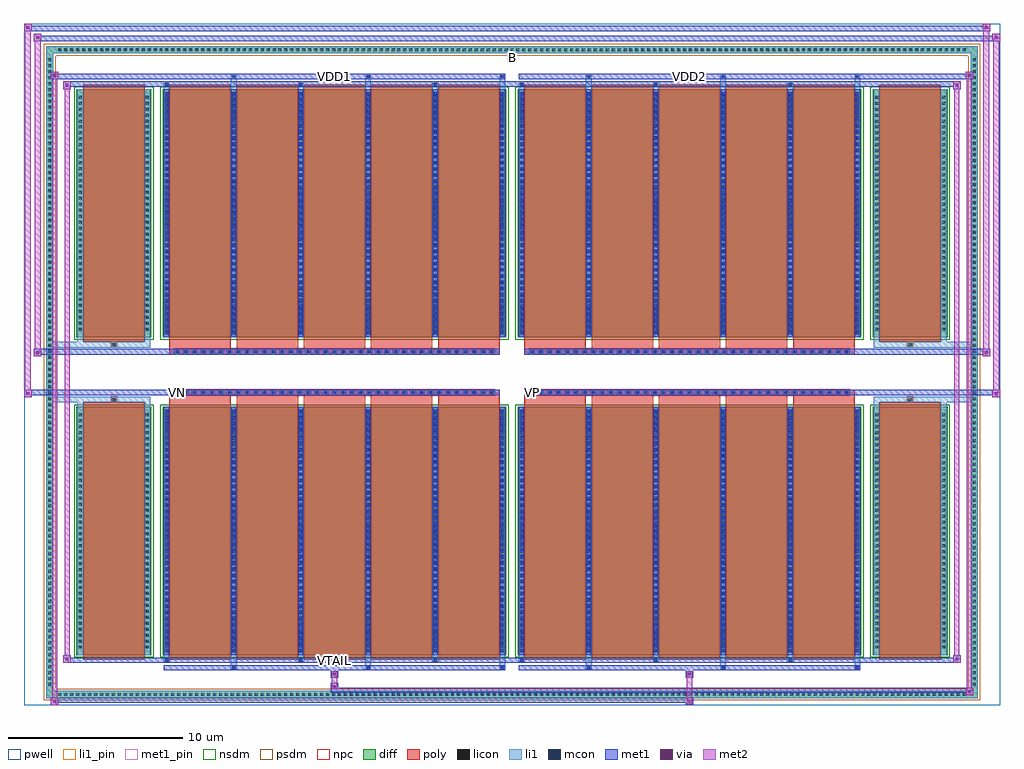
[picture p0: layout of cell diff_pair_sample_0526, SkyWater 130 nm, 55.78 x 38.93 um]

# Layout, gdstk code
import gdstk
lib = gdstk.Library(unit=1e-6, precision=5e-09)
def R(c, l, rs):  # rectangles x0, y0, x1, y1
    for r in rs: c.add(gdstk.rectangle(r[:2], r[2:], *l))
def A(c, l, x, y, w, h, nx, ny, dx, dy):  # array of equal rectangles
    R(c, l, [(x+i*dx, y+j*dy, x+i*dx+w, y+j*dy+h) for i in range(nx) for j in range(ny)])
def P(c, l, *ps):  # polygons
    for p in ps: c.add(gdstk.Polygon(p, *l))
pwell = (64, 44)
diff = (65, 20)
poly = (66, 20)
licon = (66, 44)
li1_pin = (67, 16)
li1 = (67, 20)
mcon = (67, 44)
met1_pin = (68, 16)
met1 = (68, 20)
via = (68, 44)
met2 = (69, 20)
nsdm = (93, 44)
psdm = (94, 20)
npc = (95, 20)

diff_pair_sample_0526 = lib.new_cell('diff_pair_sample_0526')
R(diff_pair_sample_0526, pwell, [(-27.89,-19.03,27.89,19.9), (-25.21,-17.22,-0.01,-0.8), (0.01,-17.22,25.21,-0.8), (-25.21,0.8,-0.01,17.22), (0.01,0.8,25.21,17.22)])
A(diff_pair_sample_0526, diff, -26.045, -18.63, 0.41, 0.41, 153, 2, 0.34, 36.85)
A(diff_pair_sample_0526, diff, -26.62, -18.055, 0.41, 0.41, 1, 106, 0, 0.34)
A(diff_pair_sample_0526, diff, 26.21, -18.055, 0.41, 0.41, 1, 106, 0, 0.34)
R(diff_pair_sample_0526, diff, [(-26.045,-18.63,26.045,-18.22), (-26.62,-18.055,-26.21,18.055), (26.21,-18.055,26.62,18.055), (-24.9,-16.175,-20.61,-1.985), (-19.97,-16.175,-0.32,-1.985), (0.32,-16.175,19.97,-1.985), (20.61,-16.175,24.9,-1.985), (-24.9,1.985,-20.61,16.175), (-19.97,1.985,-0.32,16.175), (0.32,1.985,19.97,16.175), (20.61,1.985,24.9,16.175), (-26.045,18.22,26.045,18.63)])
P(diff_pair_sample_0526, diff, [(26.62,18.63),(-26.62,18.63),(-26.62,-18.22),(-26.21,-18.22),(-26.21,18.22),(26.21,18.22),(26.21,-18.22),(-26.21,-18.22),(-26.62,-18.22),(-26.62,-18.63),(26.62,-18.63)])
A(diff_pair_sample_0526, poly, -19.58, -16.425, 3.51, 14.69, 5, 2, 3.84, 18.16)
A(diff_pair_sample_0526, poly, 0.71, -16.425, 3.51, 14.69, 5, 2, 3.84, 18.16)
A(diff_pair_sample_0526, poly, -19.58, -1.735, 3.51, 0.405, 5, 2, 3.84, 3.065)
A(diff_pair_sample_0526, poly, 0.71, -1.735, 3.51, 0.405, 5, 2, 3.84, 3.065)
A(diff_pair_sample_0526, poly, -19.31, -1.33, 0.33, 0.33, 37, 2, 0.5, 2.33)
A(diff_pair_sample_0526, poly, 0.98, -1.33, 0.33, 0.33, 37, 2, 0.5, 2.33)
R(diff_pair_sample_0526, poly, [(-24.51,-16.425,-21,-1.735), (21,-16.425,24.51,-1.735), (-22.92,-1.735,-22.59,-1.405), (-22.92,-1.735,-22.59,-1.405), (22.59,-1.735,22.92,-1.405), (22.59,-1.735,22.92,-1.405), (-19.58,-1.33,-0.71,-1), (0.71,-1.33,19.58,-1), (-19.58,1,-0.71,1.33), (0.71,1,19.58,1.33), (-22.92,1.405,-22.59,1.735), (-22.92,1.405,-22.59,1.735), (22.59,1.405,22.92,1.735), (22.59,1.405,22.92,1.735), (-24.51,1.735,-21,16.425), (21,1.735,24.51,16.425)])
A(diff_pair_sample_0526, licon, -25.925, -18.51, 0.17, 0.17, 153, 2, 0.34, 36.85)
A(diff_pair_sample_0526, licon, -26.5, -17.935, 0.17, 0.17, 1, 106, 0, 0.34)
A(diff_pair_sample_0526, licon, 26.33, -17.935, 0.17, 0.17, 1, 106, 0, 0.34)
A(diff_pair_sample_0526, licon, -24.76, -15.795, 0.17, 0.17, 1, 40, 0, 0.34)
A(diff_pair_sample_0526, licon, -20.92, -15.795, 0.17, 0.17, 1, 40, 0, 0.34)
A(diff_pair_sample_0526, licon, -19.83, -15.795, 0.17, 0.17, 6, 40, 3.84, 0.34)
A(diff_pair_sample_0526, licon, 0.46, -15.795, 0.17, 0.17, 6, 40, 3.84, 0.34)
A(diff_pair_sample_0526, licon, 20.75, -15.795, 0.17, 0.17, 1, 40, 0, 0.34)
A(diff_pair_sample_0526, licon, 24.59, -15.795, 0.17, 0.17, 1, 40, 0, 0.34)
A(diff_pair_sample_0526, licon, -19.23, -1.25, 0.17, 0.17, 37, 2, 0.5, 2.33)
A(diff_pair_sample_0526, licon, 1.06, -1.25, 0.17, 0.17, 37, 2, 0.5, 2.33)
A(diff_pair_sample_0526, licon, -24.76, 2.365, 0.17, 0.17, 1, 40, 0, 0.34)
A(diff_pair_sample_0526, licon, -20.92, 2.365, 0.17, 0.17, 1, 40, 0, 0.34)
A(diff_pair_sample_0526, licon, -19.83, 2.365, 0.17, 0.17, 6, 40, 3.84, 0.34)
A(diff_pair_sample_0526, licon, 0.46, 2.365, 0.17, 0.17, 6, 40, 3.84, 0.34)
A(diff_pair_sample_0526, licon, 20.75, 2.365, 0.17, 0.17, 1, 40, 0, 0.34)
A(diff_pair_sample_0526, licon, 24.59, 2.365, 0.17, 0.17, 1, 40, 0, 0.34)
R(diff_pair_sample_0526, licon, [(-22.84,-1.655,-22.67,-1.485), (22.67,-1.655,22.84,-1.485), (-22.84,1.485,-22.67,1.655), (22.67,1.485,22.84,1.655)])
R(diff_pair_sample_0526, li1_pin, [(-0.25,17.72,0.25,18.22)])
A(diff_pair_sample_0526, li1, -26.005, -18.59, 0.33, 0.33, 153, 2, 0.34, 36.85)
A(diff_pair_sample_0526, li1, -26.58, -18.015, 0.33, 0.33, 1, 106, 0, 0.34)
A(diff_pair_sample_0526, li1, 26.25, -18.015, 0.33, 0.33, 1, 106, 0, 0.34)
A(diff_pair_sample_0526, li1, -16.07, -16.98, 0.33, 0.805, 3, 2, 7.68, 33.155)
A(diff_pair_sample_0526, li1, -15.99, -16.98, 0.17, 0.17, 3, 2, 7.68, 33.79)
A(diff_pair_sample_0526, li1, 4.22, -16.98, 0.33, 0.805, 3, 2, 7.68, 33.155)
A(diff_pair_sample_0526, li1, 4.3, -16.98, 0.17, 0.17, 3, 2, 7.68, 33.79)
A(diff_pair_sample_0526, li1, -19.91, -16.55, 0.33, 0.375, 3, 2, 7.68, 32.725)
A(diff_pair_sample_0526, li1, -19.83, -16.55, 0.17, 0.17, 3, 2, 7.68, 32.93)
A(diff_pair_sample_0526, li1, 0.38, -16.55, 0.33, 0.375, 3, 2, 7.68, 32.725)
A(diff_pair_sample_0526, li1, 0.46, -16.55, 0.17, 0.17, 3, 2, 7.68, 32.93)
A(diff_pair_sample_0526, li1, -19.91, -16.175, 0.33, 14.19, 6, 2, 3.84, 18.16)
A(diff_pair_sample_0526, li1, 0.38, -16.175, 0.33, 14.19, 6, 2, 3.84, 18.16)
A(diff_pair_sample_0526, li1, -19.83, -16.005, 0.17, 0.17, 6, 39, 3.84, 0.36)
A(diff_pair_sample_0526, li1, -19.83, -16.005, 0.17, 13.85, 6, 2, 3.84, 18.16)
A(diff_pair_sample_0526, li1, 0.46, -16.005, 0.17, 0.17, 6, 39, 3.84, 0.36)
A(diff_pair_sample_0526, li1, 0.46, -16.005, 0.17, 13.85, 6, 2, 3.84, 18.16)
A(diff_pair_sample_0526, li1, -24.84, -15.875, 0.33, 0.33, 1, 40, 0, 0.34)
A(diff_pair_sample_0526, li1, -21, -15.875, 0.33, 0.33, 1, 40, 0, 0.34)
A(diff_pair_sample_0526, li1, -19.91, -15.875, 0.33, 0.33, 6, 40, 3.84, 0.34)
A(diff_pair_sample_0526, li1, 0.38, -15.875, 0.33, 0.33, 6, 40, 3.84, 0.34)
A(diff_pair_sample_0526, li1, 20.67, -15.875, 0.33, 0.33, 1, 40, 0, 0.34)
A(diff_pair_sample_0526, li1, 24.51, -15.875, 0.33, 0.33, 1, 40, 0, 0.34)
A(diff_pair_sample_0526, li1, -19.31, -1.33, 0.33, 0.33, 37, 2, 0.5, 2.33)
A(diff_pair_sample_0526, li1, 0.98, -1.33, 0.33, 0.33, 37, 2, 0.5, 2.33)
A(diff_pair_sample_0526, li1, -19.83, 2.155, 0.17, 0.17, 6, 39, 3.84, 0.36)
A(diff_pair_sample_0526, li1, 0.46, 2.155, 0.17, 0.17, 6, 39, 3.84, 0.36)
A(diff_pair_sample_0526, li1, -24.84, 2.285, 0.33, 0.33, 1, 40, 0, 0.34)
A(diff_pair_sample_0526, li1, -21, 2.285, 0.33, 0.33, 1, 40, 0, 0.34)
A(diff_pair_sample_0526, li1, -19.91, 2.285, 0.33, 0.33, 6, 40, 3.84, 0.34)
A(diff_pair_sample_0526, li1, 0.38, 2.285, 0.33, 0.33, 6, 40, 3.84, 0.34)
A(diff_pair_sample_0526, li1, 20.67, 2.285, 0.33, 0.33, 1, 40, 0, 0.34)
A(diff_pair_sample_0526, li1, 24.51, 2.285, 0.33, 0.33, 1, 40, 0, 0.34)
R(diff_pair_sample_0526, li1, [(-26.62,-18.63,-26.21,-18.22), (-26.62,-18.63,-26.21,-18.22), (-26.21,-18.63,26.21,-18.22), (26.21,-18.63,26.62,-18.22), (26.21,-18.63,26.62,-18.22), (-26.62,-18.22,-26.21,18.22), (26.21,-18.22,26.62,18.22), (-24.84,-16.175,-24.51,-1.985), (-21,-16.175,-20.67,-1.985), (20.67,-16.175,21,-1.985), (24.51,-16.175,24.84,-1.985), (-24.84,-1.985,-24.51,-1.405), (-21,-1.985,-20.67,-1.405), (20.67,-1.985,21,-1.405), (24.51,-1.985,24.84,-1.405), (-26.62,-1.735,-22.92,-1.405), (-24.84,-1.735,-22.92,-1.405), (-22.92,-1.735,-22.59,-1.405), (-22.59,-1.735,-20.67,-1.405), (20.67,-1.735,22.59,-1.405), (22.59,-1.735,22.92,-1.405), (22.59,-1.735,26.62,-1.405), (22.92,-1.735,24.84,-1.405), (-26.62,1.405,-22.92,1.735), (-24.84,1.405,-22.92,1.735), (-24.84,1.405,-24.51,1.985), (-22.92,1.405,-22.59,1.735), (-22.59,1.405,-20.67,1.735), (-21,1.405,-20.67,1.985), (20.67,1.405,22.59,1.735), (20.67,1.405,21,1.985), (22.59,1.405,22.92,1.735), (22.59,1.405,26.62,1.735), (22.92,1.405,24.84,1.735), (24.51,1.405,24.84,1.985), (-24.84,1.985,-24.51,16.175), (-21,1.985,-20.67,16.175), (20.67,1.985,21,16.175), (24.51,1.985,24.84,16.175), (-26.62,18.22,-26.21,18.63), (-26.62,18.22,-26.21,18.63), (-26.21,18.22,26.21,18.63), (26.21,18.22,26.62,18.63), (26.21,18.22,26.62,18.63)])
A(diff_pair_sample_0526, mcon, -15.99, -16.98, 0.17, 0.17, 3, 2, 7.68, 33.79)
A(diff_pair_sample_0526, mcon, 4.3, -16.98, 0.17, 0.17, 3, 2, 7.68, 33.79)
A(diff_pair_sample_0526, mcon, -19.83, -16.55, 0.17, 0.17, 3, 2, 7.68, 32.93)
A(diff_pair_sample_0526, mcon, 0.46, -16.55, 0.17, 0.17, 3, 2, 7.68, 32.93)
A(diff_pair_sample_0526, mcon, -19.83, -16.005, 0.17, 0.17, 6, 39, 3.84, 0.36)
A(diff_pair_sample_0526, mcon, 0.46, -16.005, 0.17, 0.17, 6, 39, 3.84, 0.36)
A(diff_pair_sample_0526, mcon, -19.23, -1.25, 0.17, 0.17, 37, 2, 0.5, 2.33)
A(diff_pair_sample_0526, mcon, 1.06, -1.25, 0.17, 0.17, 37, 2, 0.5, 2.33)
A(diff_pair_sample_0526, mcon, -19.83, 2.155, 0.17, 0.17, 6, 39, 3.84, 0.36)
A(diff_pair_sample_0526, mcon, 0.46, 2.155, 0.17, 0.17, 6, 39, 3.84, 0.36)
R(diff_pair_sample_0526, met1_pin, [(-10.28,-16.59,-10.01,-16.32), (-19.28,-1.29,-19.01,-1.02), (1.01,-1.29,1.28,-1.02), (-10.28,16.77,-10.01,17.04), (10.01,16.77,10.28,17.04)])
A(diff_pair_sample_0526, met1, -16.05, -17.04, 0.29, 0.29, 3, 2, 7.68, 33.79)
A(diff_pair_sample_0526, met1, 4.24, -17.04, 0.29, 0.29, 3, 2, 7.68, 33.79)
A(diff_pair_sample_0526, met1, -19.89, -16.61, 0.29, 0.29, 3, 2, 7.68, 32.93)
A(diff_pair_sample_0526, met1, 0.4, -16.61, 0.29, 0.29, 3, 2, 7.68, 32.93)
A(diff_pair_sample_0526, met1, -19.89, -16.175, 0.29, 14.19, 6, 2, 3.84, 18.16)
A(diff_pair_sample_0526, met1, 0.4, -16.175, 0.29, 14.19, 6, 2, 3.84, 18.16)
A(diff_pair_sample_0526, met1, -19.89, -16.065, 0.29, 0.29, 6, 39, 3.84, 0.36)
A(diff_pair_sample_0526, met1, 0.4, -16.065, 0.29, 0.29, 6, 39, 3.84, 0.36)
A(diff_pair_sample_0526, met1, -19.29, -1.31, 0.29, 0.29, 37, 2, 0.5, 2.33)
A(diff_pair_sample_0526, met1, 1, -1.31, 0.29, 0.29, 37, 2, 0.5, 2.33)
A(diff_pair_sample_0526, met1, -19.89, 2.095, 0.29, 0.29, 6, 39, 3.84, 0.36)
A(diff_pair_sample_0526, met1, 0.4, 2.095, 0.29, 0.29, 6, 39, 3.84, 0.36)
R(diff_pair_sample_0526, met1, [(-26.35,-19.03,-25.92,-18.6), (9.93,-19.03,10.36,-18.6), (-26.35,-18.89,10.36,-18.6), (25.92,-18.46,26.35,-18.03), (-10.36,-18.32,26.35,-18.03), (-10.36,-18.18,-9.93,-17.75), (-10.36,-17.47,-9.93,-17.04), (9.93,-17.47,10.36,-17.04), (-19.89,-17.04,-0.4,-16.75), (0.4,-17.04,19.89,-16.75), (-25.64,-16.61,-25.21,-16.18), (-25.64,-16.61,-19.89,-16.32), (-19.89,-16.61,-0.4,-16.32), (-0.4,-16.61,0.4,-16.32), (0.4,-16.61,19.89,-16.32), (19.89,-16.61,25.64,-16.32), (25.21,-16.61,25.64,-16.18), (-27.89,-1.43,-27.46,-1), (27.46,-1.43,27.89,-1), (-27.89,-1.33,-0.71,-1), (-19.58,-1.33,-0.71,-1), (0.71,-1.33,19.58,-1), (0.71,-1.33,27.89,-1), (-27.32,0.9,-26.89,1.33), (26.89,0.9,27.32,1.33), (-27.32,1,-19.58,1.33), (-19.58,1,-0.71,1.33), (0.71,1,19.58,1.33), (19.58,1,27.32,1.33), (-25.64,16.18,-25.21,16.61), (25.21,16.18,25.64,16.61), (-25.64,16.32,-19.89,16.61), (-19.89,16.32,-0.4,16.61), (-0.4,16.32,0.4,16.61), (0.4,16.32,19.89,16.61), (19.89,16.32,25.64,16.61), (-26.35,16.75,-25.92,17.18), (-26.35,16.75,-19.89,17.04), (-19.89,16.75,-0.4,17.04), (0.4,16.75,19.89,17.04), (19.89,16.75,26.35,17.04), (25.92,16.75,26.35,17.18), (-27.32,18.9,-26.89,19.33), (-27.32,18.9,-25.21,19.23), (-25.21,18.9,25.21,19.23), (25.21,18.9,27.89,19.23), (27.46,18.9,27.89,19.33), (-27.89,19.47,-27.46,19.9), (-27.89,19.47,-25.21,19.8), (-25.21,19.47,25.21,19.8), (25.21,19.47,27.32,19.8), (26.89,19.47,27.32,19.9)])
R(diff_pair_sample_0526, via, [(-26.21,-18.89,-26.06,-18.74), (10.07,-18.89,10.22,-18.74), (26.06,-18.32,26.21,-18.17), (-10.22,-18.04,-10.07,-17.89), (-10.22,-17.33,-10.07,-17.18), (10.07,-17.33,10.22,-17.18), (-25.5,-16.47,-25.35,-16.32), (25.35,-16.47,25.5,-16.32), (-27.75,-1.29,-27.6,-1.14), (27.6,-1.29,27.75,-1.14), (-27.18,1.04,-27.03,1.19), (27.03,1.04,27.18,1.19), (-25.5,16.32,-25.35,16.47), (25.35,16.32,25.5,16.47), (-26.21,16.89,-26.06,17.04), (26.06,16.89,26.21,17.04), (-27.18,19.04,-27.03,19.19), (27.6,19.04,27.75,19.19), (-27.75,19.61,-27.6,19.76), (27.03,19.61,27.18,19.76)])
R(diff_pair_sample_0526, met2, [(-26.35,-19.03,-25.92,-18.6), (-26.28,-19.03,-25.99,17.18), (-25.99,-19.03,-25.92,-18.6), (-26.3,-18.98,-25.97,-18.65), (9.98,-18.98,10.31,-18.65), (9.98,-18.65,10.31,-17.42), (25.92,-18.46,26.35,-18.03), (25.99,-18.46,26.28,17.18), (26.28,-18.46,26.35,-18.03), (25.97,-18.41,26.3,-18.08), (-10.31,-18.13,-9.98,-17.8), (-10.31,-17.8,-9.98,-17.42), (-10.31,-17.42,-9.98,-17.09), (9.98,-17.42,10.31,-17.09), (-25.64,-16.61,-25.21,-16.18), (-25.57,-16.61,-25.28,16.61), (-25.28,-16.61,-25.21,-16.18), (25.21,-16.61,25.64,-16.18), (25.28,-16.61,25.57,16.61), (25.57,-16.61,25.64,-16.18), (-25.59,-16.56,-25.26,-16.23), (25.26,-16.56,25.59,-16.23), (-27.89,-1.43,-27.46,-1), (-27.84,-1.43,-27.51,19.9), (-27.51,-1.43,-27.46,-1), (27.46,-1.43,27.89,-1), (27.51,-1.43,27.84,19.33), (27.84,-1.43,27.89,-1), (-27.84,-1.38,-27.51,-1.05), (27.51,-1.38,27.84,-1.05), (-27.32,0.9,-26.89,1.33), (-27.27,0.9,-26.94,19.33), (-26.94,0.9,-26.89,1.33), (26.89,0.9,27.32,1.33), (26.94,0.9,27.27,19.9), (27.27,0.9,27.32,1.33), (-27.27,0.95,-26.94,1.28), (26.94,0.95,27.27,1.28), (-25.64,16.18,-25.21,16.61), (-25.28,16.18,-25.21,16.61), (25.21,16.18,25.64,16.61), (25.57,16.18,25.64,16.61), (-25.59,16.23,-25.26,16.56), (25.26,16.23,25.59,16.56), (-26.35,16.75,-25.92,17.18), (-25.99,16.75,-25.92,17.18), (25.92,16.75,26.35,17.18), (26.28,16.75,26.35,17.18), (-26.3,16.8,-25.97,17.13), (25.97,16.8,26.3,17.13), (-27.32,18.9,-26.89,19.33), (-26.94,18.9,-26.89,19.33), (27.46,18.9,27.89,19.33), (27.84,18.9,27.89,19.33), (-27.27,18.95,-26.94,19.28), (27.51,18.95,27.84,19.28), (-27.89,19.47,-27.46,19.9), (-27.51,19.47,-27.46,19.9), (26.89,19.47,27.32,19.9), (27.27,19.47,27.32,19.9), (-27.84,19.52,-27.51,19.85), (26.94,19.52,27.27,19.85)])
R(diff_pair_sample_0526, nsdm, [(-25.03,-16.305,-20.48,-1.855), (-20.1,-16.305,-0.19,-1.855), (0.19,-16.305,20.1,-1.855), (20.48,-16.305,25.03,-1.855), (-25.03,1.855,-20.48,16.305), (-20.1,1.855,-0.19,16.305), (0.19,1.855,20.1,16.305), (20.48,1.855,25.03,16.305)])
P(diff_pair_sample_0526, psdm, [(26.75,18.76),(-26.75,18.76),(-26.75,-18.09),(-26.08,-18.09),(-26.08,18.09),(26.08,18.09),(26.08,-18.09),(-26.08,-18.09),(-26.75,-18.09),(-26.75,-18.76),(26.75,-18.76)])
A(diff_pair_sample_0526, npc, -19.33, -1.35, 0.37, 0.37, 37, 2, 0.5, 2.33)
A(diff_pair_sample_0526, npc, 0.96, -1.35, 0.37, 0.37, 37, 2, 0.5, 2.33)
R(diff_pair_sample_0526, npc, [(-22.94,-1.755,-22.57,-1.385), (22.57,-1.755,22.94,-1.385), (-19.33,-1.35,-18.46,-0.98), (-19.33,-1.35,-18.46,-0.98), (-18.83,-1.35,-17.96,-0.98), (-18.83,-1.35,-17.96,-0.98), (-18.33,-1.35,-17.46,-0.98), (-18.33,-1.35,-17.46,-0.98), (-17.83,-1.35,-16.96,-0.98), (-17.83,-1.35,-16.96,-0.98), (-17.33,-1.35,-16.46,-0.98), (-17.33,-1.35,-16.46,-0.98), (-16.83,-1.35,-15.96,-0.98), (-16.83,-1.35,-15.96,-0.98), (-16.33,-1.35,-15.46,-0.98), (-16.33,-1.35,-15.46,-0.98), (-15.83,-1.35,-14.96,-0.98), (-15.83,-1.35,-14.96,-0.98), (-15.33,-1.35,-14.46,-0.98), (-15.33,-1.35,-14.46,-0.98), (-14.83,-1.35,-13.96,-0.98), (-14.83,-1.35,-13.96,-0.98), (-14.33,-1.35,-13.46,-0.98), (-14.33,-1.35,-13.46,-0.98), (-13.83,-1.35,-12.96,-0.98), (-13.83,-1.35,-12.96,-0.98), (-13.33,-1.35,-12.46,-0.98), (-13.33,-1.35,-12.46,-0.98), (-12.83,-1.35,-11.96,-0.98), (-12.83,-1.35,-11.96,-0.98), (-12.33,-1.35,-11.46,-0.98), (-12.33,-1.35,-11.46,-0.98), (-11.83,-1.35,-10.96,-0.98), (-11.83,-1.35,-10.96,-0.98), (-11.33,-1.35,-10.46,-0.98), (-11.33,-1.35,-10.46,-0.98), (-10.83,-1.35,-9.96,-0.98), (-10.83,-1.35,-9.96,-0.98), (-10.33,-1.35,-9.46,-0.98), (-10.33,-1.35,-9.46,-0.98), (-9.83,-1.35,-8.96,-0.98), (-9.83,-1.35,-8.96,-0.98), (-9.33,-1.35,-8.46,-0.98), (-9.33,-1.35,-8.46,-0.98), (-8.83,-1.35,-7.96,-0.98), (-8.83,-1.35,-7.96,-0.98), (-8.33,-1.35,-7.46,-0.98), (-8.33,-1.35,-7.46,-0.98), (-7.83,-1.35,-6.96,-0.98), (-7.83,-1.35,-6.96,-0.98), (-7.33,-1.35,-6.46,-0.98), (-7.33,-1.35,-6.46,-0.98), (-6.83,-1.35,-5.96,-0.98), (-6.83,-1.35,-5.96,-0.98), (-6.33,-1.35,-5.46,-0.98), (-6.33,-1.35,-5.46,-0.98), (-5.83,-1.35,-4.96,-0.98), (-5.83,-1.35,-4.96,-0.98), (-5.33,-1.35,-4.46,-0.98), (-5.33,-1.35,-4.46,-0.98), (-4.83,-1.35,-3.96,-0.98), (-4.83,-1.35,-3.96,-0.98), (-4.33,-1.35,-3.46,-0.98), (-4.33,-1.35,-3.46,-0.98), (-3.83,-1.35,-2.96,-0.98), (-3.83,-1.35,-2.96,-0.98), (-3.33,-1.35,-2.46,-0.98), (-3.33,-1.35,-2.46,-0.98), (-2.83,-1.35,-1.96,-0.98), (-2.83,-1.35,-1.96,-0.98), (-2.33,-1.35,-1.46,-0.98), (-2.33,-1.35,-1.46,-0.98), (-1.83,-1.35,-0.96,-0.98), (-1.83,-1.35,-0.96,-0.98), (0.96,-1.35,1.83,-0.98), (0.96,-1.35,1.83,-0.98), (1.46,-1.35,2.33,-0.98), (1.46,-1.35,2.33,-0.98), (1.96,-1.35,2.83,-0.98), (1.96,-1.35,2.83,-0.98), (2.46,-1.35,3.33,-0.98), (2.46,-1.35,3.33,-0.98), (2.96,-1.35,3.83,-0.98), (2.96,-1.35,3.83,-0.98), (3.46,-1.35,4.33,-0.98), (3.46,-1.35,4.33,-0.98), (3.96,-1.35,4.83,-0.98), (3.96,-1.35,4.83,-0.98), (4.46,-1.35,5.33,-0.98), (4.46,-1.35,5.33,-0.98), (4.96,-1.35,5.83,-0.98), (4.96,-1.35,5.83,-0.98), (5.46,-1.35,6.33,-0.98), (5.46,-1.35,6.33,-0.98), (5.96,-1.35,6.83,-0.98), (5.96,-1.35,6.83,-0.98), (6.46,-1.35,7.33,-0.98), (6.46,-1.35,7.33,-0.98), (6.96,-1.35,7.83,-0.98), (6.96,-1.35,7.83,-0.98), (7.46,-1.35,8.33,-0.98), (7.46,-1.35,8.33,-0.98), (7.96,-1.35,8.83,-0.98), (7.96,-1.35,8.83,-0.98), (8.46,-1.35,9.33,-0.98), (8.46,-1.35,9.33,-0.98), (8.96,-1.35,9.83,-0.98), (8.96,-1.35,9.83,-0.98), (9.46,-1.35,10.33,-0.98), (9.46,-1.35,10.33,-0.98), (9.96,-1.35,10.83,-0.98), (9.96,-1.35,10.83,-0.98), (10.46,-1.35,11.33,-0.98), (10.46,-1.35,11.33,-0.98), (10.96,-1.35,11.83,-0.98), (10.96,-1.35,11.83,-0.98), (11.46,-1.35,12.33,-0.98), (11.46,-1.35,12.33,-0.98), (11.96,-1.35,12.83,-0.98), (11.96,-1.35,12.83,-0.98), (12.46,-1.35,13.33,-0.98), (12.46,-1.35,13.33,-0.98), (12.96,-1.35,13.83,-0.98), (12.96,-1.35,13.83,-0.98), (13.46,-1.35,14.33,-0.98), (13.46,-1.35,14.33,-0.98), (13.96,-1.35,14.83,-0.98), (13.96,-1.35,14.83,-0.98), (14.46,-1.35,15.33,-0.98), (14.46,-1.35,15.33,-0.98), (14.96,-1.35,15.83,-0.98), (14.96,-1.35,15.83,-0.98), (15.46,-1.35,16.33,-0.98), (15.46,-1.35,16.33,-0.98), (15.96,-1.35,16.83,-0.98), (15.96,-1.35,16.83,-0.98), (16.46,-1.35,17.33,-0.98), (16.46,-1.35,17.33,-0.98), (16.96,-1.35,17.83,-0.98), (16.96,-1.35,17.83,-0.98), (17.46,-1.35,18.33,-0.98), (17.46,-1.35,18.33,-0.98), (17.96,-1.35,18.83,-0.98), (17.96,-1.35,18.83,-0.98), (18.46,-1.35,19.33,-0.98), (18.46,-1.35,19.33,-0.98), (-19.33,0.98,-18.46,1.35), (-19.33,0.98,-18.46,1.35), (-18.83,0.98,-17.96,1.35), (-18.83,0.98,-17.96,1.35), (-18.33,0.98,-17.46,1.35), (-18.33,0.98,-17.46,1.35), (-17.83,0.98,-16.96,1.35), (-17.83,0.98,-16.96,1.35), (-17.33,0.98,-16.46,1.35), (-17.33,0.98,-16.46,1.35), (-16.83,0.98,-15.96,1.35), (-16.83,0.98,-15.96,1.35), (-16.33,0.98,-15.46,1.35), (-16.33,0.98,-15.46,1.35), (-15.83,0.98,-14.96,1.35), (-15.83,0.98,-14.96,1.35), (-15.33,0.98,-14.46,1.35), (-15.33,0.98,-14.46,1.35), (-14.83,0.98,-13.96,1.35), (-14.83,0.98,-13.96,1.35), (-14.33,0.98,-13.46,1.35), (-14.33,0.98,-13.46,1.35), (-13.83,0.98,-12.96,1.35), (-13.83,0.98,-12.96,1.35), (-13.33,0.98,-12.46,1.35), (-13.33,0.98,-12.46,1.35), (-12.83,0.98,-11.96,1.35), (-12.83,0.98,-11.96,1.35), (-12.33,0.98,-11.46,1.35), (-12.33,0.98,-11.46,1.35), (-11.83,0.98,-10.96,1.35), (-11.83,0.98,-10.96,1.35), (-11.33,0.98,-10.46,1.35), (-11.33,0.98,-10.46,1.35), (-10.83,0.98,-9.96,1.35), (-10.83,0.98,-9.96,1.35), (-10.33,0.98,-9.46,1.35), (-10.33,0.98,-9.46,1.35), (-9.83,0.98,-8.96,1.35), (-9.83,0.98,-8.96,1.35), (-9.33,0.98,-8.46,1.35), (-9.33,0.98,-8.46,1.35), (-8.83,0.98,-7.96,1.35), (-8.83,0.98,-7.96,1.35), (-8.33,0.98,-7.46,1.35), (-8.33,0.98,-7.46,1.35), (-7.83,0.98,-6.96,1.35), (-7.83,0.98,-6.96,1.35), (-7.33,0.98,-6.46,1.35), (-7.33,0.98,-6.46,1.35), (-6.83,0.98,-5.96,1.35), (-6.83,0.98,-5.96,1.35), (-6.33,0.98,-5.46,1.35), (-6.33,0.98,-5.46,1.35), (-5.83,0.98,-4.96,1.35), (-5.83,0.98,-4.96,1.35), (-5.33,0.98,-4.46,1.35), (-5.33,0.98,-4.46,1.35), (-4.83,0.98,-3.96,1.35), (-4.83,0.98,-3.96,1.35), (-4.33,0.98,-3.46,1.35), (-4.33,0.98,-3.46,1.35), (-3.83,0.98,-2.96,1.35), (-3.83,0.98,-2.96,1.35), (-3.33,0.98,-2.46,1.35), (-3.33,0.98,-2.46,1.35), (-2.83,0.98,-1.96,1.35), (-2.83,0.98,-1.96,1.35), (-2.33,0.98,-1.46,1.35), (-2.33,0.98,-1.46,1.35), (-1.83,0.98,-0.96,1.35), (-1.83,0.98,-0.96,1.35), (0.96,0.98,1.83,1.35), (0.96,0.98,1.83,1.35), (1.46,0.98,2.33,1.35), (1.46,0.98,2.33,1.35), (1.96,0.98,2.83,1.35), (1.96,0.98,2.83,1.35), (2.46,0.98,3.33,1.35), (2.46,0.98,3.33,1.35), (2.96,0.98,3.83,1.35), (2.96,0.98,3.83,1.35), (3.46,0.98,4.33,1.35), (3.46,0.98,4.33,1.35), (3.96,0.98,4.83,1.35), (3.96,0.98,4.83,1.35), (4.46,0.98,5.33,1.35), (4.46,0.98,5.33,1.35), (4.96,0.98,5.83,1.35), (4.96,0.98,5.83,1.35), (5.46,0.98,6.33,1.35), (5.46,0.98,6.33,1.35), (5.96,0.98,6.83,1.35), (5.96,0.98,6.83,1.35), (6.46,0.98,7.33,1.35), (6.46,0.98,7.33,1.35), (6.96,0.98,7.83,1.35), (6.96,0.98,7.83,1.35), (7.46,0.98,8.33,1.35), (7.46,0.98,8.33,1.35), (7.96,0.98,8.83,1.35), (7.96,0.98,8.83,1.35), (8.46,0.98,9.33,1.35), (8.46,0.98,9.33,1.35), (8.96,0.98,9.83,1.35), (8.96,0.98,9.83,1.35), (9.46,0.98,10.33,1.35), (9.46,0.98,10.33,1.35), (9.96,0.98,10.83,1.35), (9.96,0.98,10.83,1.35), (10.46,0.98,11.33,1.35), (10.46,0.98,11.33,1.35), (10.96,0.98,11.83,1.35), (10.96,0.98,11.83,1.35), (11.46,0.98,12.33,1.35), (11.46,0.98,12.33,1.35), (11.96,0.98,12.83,1.35), (11.96,0.98,12.83,1.35), (12.46,0.98,13.33,1.35), (12.46,0.98,13.33,1.35), (12.96,0.98,13.83,1.35), (12.96,0.98,13.83,1.35), (13.46,0.98,14.33,1.35), (13.46,0.98,14.33,1.35), (13.96,0.98,14.83,1.35), (13.96,0.98,14.83,1.35), (14.46,0.98,15.33,1.35), (14.46,0.98,15.33,1.35), (14.96,0.98,15.83,1.35), (14.96,0.98,15.83,1.35), (15.46,0.98,16.33,1.35), (15.46,0.98,16.33,1.35), (15.96,0.98,16.83,1.35), (15.96,0.98,16.83,1.35), (16.46,0.98,17.33,1.35), (16.46,0.98,17.33,1.35), (16.96,0.98,17.83,1.35), (16.96,0.98,17.83,1.35), (17.46,0.98,18.33,1.35), (17.46,0.98,18.33,1.35), (17.96,0.98,18.83,1.35), (17.96,0.98,18.83,1.35), (18.46,0.98,19.33,1.35), (18.46,0.98,19.33,1.35), (-22.94,1.385,-22.57,1.755), (22.57,1.385,22.94,1.755)])
diff_pair_sample_0526.add(gdstk.Label('VTAIL', (-10.145,-16.455), layer=68, texttype=5))
diff_pair_sample_0526.add(gdstk.Label('VN', (-19.145,-1.155), layer=68, texttype=5))
diff_pair_sample_0526.add(gdstk.Label('VP', (1.145,-1.155), layer=68, texttype=5))
diff_pair_sample_0526.add(gdstk.Label('B', (0,17.97), layer=67, texttype=5))
diff_pair_sample_0526.add(gdstk.Label('VDD2', (10.145,16.905), layer=68, texttype=5))
diff_pair_sample_0526.add(gdstk.Label('VDD1', (-10.145,16.905), layer=68, texttype=5))

lib.write_gds('diff_pair_sample_0526.gds')
